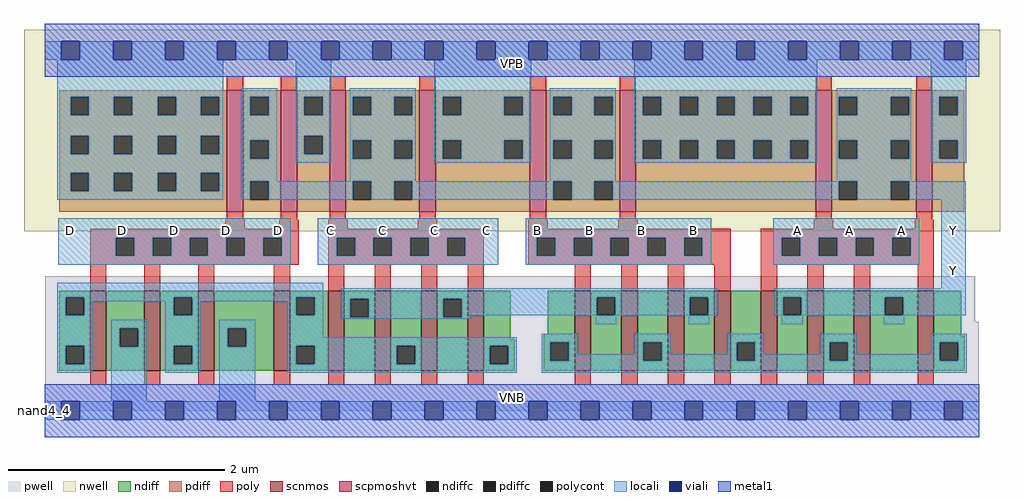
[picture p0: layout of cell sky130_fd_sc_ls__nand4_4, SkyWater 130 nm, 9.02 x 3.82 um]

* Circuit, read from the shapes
.subckt sky130_fd_sc_ls__nand4_4 A B C D VGND VNB VPB VPWR Y
XM1 VGND D n1 VNB sky130_fd_pr__nfet_01v8 w=0.74 l=0.15 m=4
XM2 n2 C n1 VNB sky130_fd_pr__nfet_01v8 w=0.74 l=0.15 m=4
XM3 n2 B n3 VNB sky130_fd_pr__nfet_01v8 w=0.74 l=0.15 m=4
XM4 Y A n3 VNB sky130_fd_pr__nfet_01v8 w=0.74 l=0.15 m=4
XM5 Y D VPWR VPB sky130_fd_pr__pfet_01v8_hvt w=1.12 l=0.15 m=2
XM6 Y C VPWR VPB sky130_fd_pr__pfet_01v8_hvt w=1.12 l=0.15 m=2
XM7 Y B VPWR VPB sky130_fd_pr__pfet_01v8_hvt w=1.12 l=0.15 m=2
XM8 Y A VPWR VPB sky130_fd_pr__pfet_01v8_hvt w=1.12 l=0.15 m=2
.ends

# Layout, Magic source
magic
tech sky130A
magscale 1 2
<< nwell >>
rect -38 332 1766 704
<< pwell >>
rect 1 164 1720 248
rect 1 49 1727 164
rect 0 0 1728 49
<< scnmos >>
rect 84 74 114 222
rect 184 74 214 222
rect 284 74 314 222
rect 424 74 454 222
rect 524 74 554 222
rect 610 74 640 222
rect 696 74 726 222
rect 782 74 812 222
rect 980 74 1010 222
rect 1066 74 1096 222
rect 1152 74 1182 222
rect 1238 74 1268 222
rect 1324 74 1354 222
rect 1410 74 1440 222
rect 1496 74 1526 222
rect 1614 74 1644 222
<< scpmoshvt >>
rect 337 368 367 592
rect 437 368 467 592
rect 527 368 557 592
rect 693 368 723 592
rect 897 368 927 592
rect 1063 368 1093 592
rect 1425 368 1455 592
rect 1611 368 1641 592
<< ndiff >>
rect 27 210 84 222
rect 27 176 39 210
rect 73 176 84 210
rect 27 120 84 176
rect 27 86 39 120
rect 73 86 84 120
rect 27 74 84 86
rect 114 152 184 222
rect 114 118 139 152
rect 173 118 184 152
rect 114 74 184 118
rect 214 210 284 222
rect 214 176 239 210
rect 273 176 284 210
rect 214 120 284 176
rect 214 86 239 120
rect 273 86 284 120
rect 214 74 284 86
rect 314 152 424 222
rect 314 118 339 152
rect 373 118 424 152
rect 314 74 424 118
rect 454 210 524 222
rect 454 176 465 210
rect 499 176 524 210
rect 454 120 524 176
rect 454 86 465 120
rect 499 86 524 120
rect 454 74 524 86
rect 554 207 610 222
rect 554 173 565 207
rect 599 173 610 207
rect 554 74 610 173
rect 640 120 696 222
rect 640 86 651 120
rect 685 86 696 120
rect 640 74 696 86
rect 726 207 782 222
rect 726 173 737 207
rect 771 173 782 207
rect 726 74 782 173
rect 812 132 862 222
rect 930 142 980 222
rect 812 120 869 132
rect 812 86 823 120
rect 857 86 869 120
rect 812 74 869 86
rect 923 126 980 142
rect 923 92 935 126
rect 969 92 980 126
rect 923 74 980 92
rect 1010 210 1066 222
rect 1010 176 1021 210
rect 1055 176 1066 210
rect 1010 74 1066 176
rect 1096 126 1152 222
rect 1096 92 1107 126
rect 1141 92 1152 126
rect 1096 74 1152 92
rect 1182 210 1238 222
rect 1182 176 1193 210
rect 1227 176 1238 210
rect 1182 74 1238 176
rect 1268 126 1324 222
rect 1268 92 1279 126
rect 1313 92 1324 126
rect 1268 74 1324 92
rect 1354 210 1410 222
rect 1354 176 1365 210
rect 1399 176 1410 210
rect 1354 74 1410 176
rect 1440 126 1496 222
rect 1440 92 1451 126
rect 1485 92 1496 126
rect 1440 74 1496 92
rect 1526 210 1614 222
rect 1526 176 1553 210
rect 1587 176 1614 210
rect 1526 74 1614 176
rect 1644 138 1694 222
rect 1644 126 1701 138
rect 1644 92 1655 126
rect 1689 92 1701 126
rect 1644 74 1701 92
<< pdiff >>
rect 27 580 337 592
rect 27 546 48 580
rect 82 546 128 580
rect 162 546 209 580
rect 243 546 289 580
rect 323 546 337 580
rect 27 508 337 546
rect 27 474 48 508
rect 82 474 128 508
rect 162 474 209 508
rect 243 474 289 508
rect 323 474 337 508
rect 27 440 337 474
rect 27 406 48 440
rect 82 406 128 440
rect 162 406 209 440
rect 243 406 289 440
rect 323 406 337 440
rect 27 368 337 406
rect 367 580 437 592
rect 367 546 380 580
rect 414 546 437 580
rect 367 500 437 546
rect 367 466 380 500
rect 414 466 437 500
rect 367 424 437 466
rect 367 390 380 424
rect 414 390 437 424
rect 367 368 437 390
rect 467 580 527 592
rect 467 546 480 580
rect 514 546 527 580
rect 467 508 527 546
rect 467 474 480 508
rect 514 474 527 508
rect 467 368 527 474
rect 557 580 693 592
rect 557 546 570 580
rect 604 546 646 580
rect 680 546 693 580
rect 557 500 693 546
rect 557 466 570 500
rect 604 466 646 500
rect 680 466 693 500
rect 557 424 693 466
rect 557 390 570 424
rect 604 390 646 424
rect 680 390 693 424
rect 557 368 693 390
rect 723 580 897 592
rect 723 546 736 580
rect 770 546 850 580
rect 884 546 897 580
rect 723 500 897 546
rect 723 466 736 500
rect 770 466 850 500
rect 884 466 897 500
rect 723 368 897 466
rect 927 580 1063 592
rect 927 546 940 580
rect 974 546 1016 580
rect 1050 546 1063 580
rect 927 500 1063 546
rect 927 466 940 500
rect 974 466 1016 500
rect 1050 466 1063 500
rect 927 424 1063 466
rect 927 390 940 424
rect 974 390 1016 424
rect 1050 390 1063 424
rect 927 368 1063 390
rect 1093 580 1425 592
rect 1093 546 1106 580
rect 1140 546 1174 580
rect 1208 546 1242 580
rect 1276 546 1310 580
rect 1344 546 1378 580
rect 1412 546 1425 580
rect 1093 500 1425 546
rect 1093 466 1106 500
rect 1140 466 1174 500
rect 1208 466 1242 500
rect 1276 466 1310 500
rect 1344 466 1378 500
rect 1412 466 1425 500
rect 1093 368 1425 466
rect 1455 580 1611 592
rect 1455 546 1468 580
rect 1502 546 1564 580
rect 1598 546 1611 580
rect 1455 500 1611 546
rect 1455 466 1468 500
rect 1502 466 1564 500
rect 1598 466 1611 500
rect 1455 424 1611 466
rect 1455 390 1468 424
rect 1502 390 1564 424
rect 1598 390 1611 424
rect 1455 368 1611 390
rect 1641 580 1700 592
rect 1641 546 1654 580
rect 1688 546 1700 580
rect 1641 500 1700 546
rect 1641 466 1654 500
rect 1688 466 1700 500
rect 1641 368 1700 466
<< ndiffc >>
rect 39 176 73 210
rect 39 86 73 120
rect 139 118 173 152
rect 239 176 273 210
rect 239 86 273 120
rect 339 118 373 152
rect 465 176 499 210
rect 465 86 499 120
rect 565 173 599 207
rect 651 86 685 120
rect 737 173 771 207
rect 823 86 857 120
rect 935 92 969 126
rect 1021 176 1055 210
rect 1107 92 1141 126
rect 1193 176 1227 210
rect 1279 92 1313 126
rect 1365 176 1399 210
rect 1451 92 1485 126
rect 1553 176 1587 210
rect 1655 92 1689 126
<< pdiffc >>
rect 48 546 82 580
rect 128 546 162 580
rect 209 546 243 580
rect 289 546 323 580
rect 48 474 82 508
rect 128 474 162 508
rect 209 474 243 508
rect 289 474 323 508
rect 48 406 82 440
rect 128 406 162 440
rect 209 406 243 440
rect 289 406 323 440
rect 380 546 414 580
rect 380 466 414 500
rect 380 390 414 424
rect 480 546 514 580
rect 480 474 514 508
rect 570 546 604 580
rect 646 546 680 580
rect 570 466 604 500
rect 646 466 680 500
rect 570 390 604 424
rect 646 390 680 424
rect 736 546 770 580
rect 850 546 884 580
rect 736 466 770 500
rect 850 466 884 500
rect 940 546 974 580
rect 1016 546 1050 580
rect 940 466 974 500
rect 1016 466 1050 500
rect 940 390 974 424
rect 1016 390 1050 424
rect 1106 546 1140 580
rect 1174 546 1208 580
rect 1242 546 1276 580
rect 1310 546 1344 580
rect 1378 546 1412 580
rect 1106 466 1140 500
rect 1174 466 1208 500
rect 1242 466 1276 500
rect 1310 466 1344 500
rect 1378 466 1412 500
rect 1468 546 1502 580
rect 1564 546 1598 580
rect 1468 466 1502 500
rect 1564 466 1598 500
rect 1468 390 1502 424
rect 1564 390 1598 424
rect 1654 546 1688 580
rect 1654 466 1688 500
<< poly >>
rect 337 592 367 618
rect 437 592 467 618
rect 527 592 557 618
rect 693 592 723 618
rect 897 592 927 618
rect 1063 592 1093 618
rect 1425 592 1455 618
rect 1611 592 1641 618
rect 337 353 367 368
rect 437 353 467 368
rect 527 353 557 368
rect 693 353 723 368
rect 897 353 927 368
rect 1063 353 1093 368
rect 1425 353 1455 368
rect 1611 353 1641 368
rect 334 336 370 353
rect 434 336 470 353
rect 84 320 470 336
rect 84 286 132 320
rect 166 286 200 320
rect 234 286 268 320
rect 302 286 336 320
rect 370 286 404 320
rect 438 286 470 320
rect 84 270 470 286
rect 524 336 560 353
rect 690 336 726 353
rect 894 336 930 353
rect 1060 336 1096 353
rect 1422 336 1458 353
rect 1608 336 1644 353
rect 524 320 812 336
rect 524 286 540 320
rect 574 286 608 320
rect 642 286 676 320
rect 710 286 744 320
rect 778 286 812 320
rect 524 270 812 286
rect 894 320 1268 336
rect 894 286 910 320
rect 944 286 978 320
rect 1012 286 1046 320
rect 1080 286 1114 320
rect 1148 286 1182 320
rect 1216 286 1268 320
rect 894 270 1268 286
rect 84 222 114 270
rect 184 222 214 270
rect 284 222 314 270
rect 424 222 454 270
rect 524 222 554 270
rect 610 222 640 270
rect 696 222 726 270
rect 782 222 812 270
rect 980 222 1010 270
rect 1066 222 1096 270
rect 1152 222 1182 270
rect 1238 222 1268 270
rect 1324 320 1644 336
rect 1324 286 1363 320
rect 1397 286 1431 320
rect 1465 286 1499 320
rect 1533 286 1567 320
rect 1601 286 1644 320
rect 1324 270 1644 286
rect 1324 222 1354 270
rect 1410 222 1440 270
rect 1496 222 1526 270
rect 1614 222 1644 270
rect 84 48 114 74
rect 184 48 214 74
rect 284 48 314 74
rect 424 48 454 74
rect 524 48 554 74
rect 610 48 640 74
rect 696 48 726 74
rect 782 48 812 74
rect 980 48 1010 74
rect 1066 48 1096 74
rect 1152 48 1182 74
rect 1238 48 1268 74
rect 1324 48 1354 74
rect 1410 48 1440 74
rect 1496 48 1526 74
rect 1614 48 1644 74
<< polycont >>
rect 132 286 166 320
rect 200 286 234 320
rect 268 286 302 320
rect 336 286 370 320
rect 404 286 438 320
rect 540 286 574 320
rect 608 286 642 320
rect 676 286 710 320
rect 744 286 778 320
rect 910 286 944 320
rect 978 286 1012 320
rect 1046 286 1080 320
rect 1114 286 1148 320
rect 1182 286 1216 320
rect 1363 286 1397 320
rect 1431 286 1465 320
rect 1499 286 1533 320
rect 1567 286 1601 320
<< locali >>
rect 0 649 31 683
rect 65 649 127 683
rect 161 649 223 683
rect 257 649 319 683
rect 353 649 415 683
rect 449 649 511 683
rect 545 649 607 683
rect 641 649 703 683
rect 737 649 799 683
rect 833 649 895 683
rect 929 649 991 683
rect 1025 649 1087 683
rect 1121 649 1183 683
rect 1217 649 1279 683
rect 1313 649 1375 683
rect 1409 649 1471 683
rect 1505 649 1567 683
rect 1601 649 1663 683
rect 1697 649 1728 683
rect 23 580 330 649
rect 23 546 48 580
rect 82 546 128 580
rect 162 546 209 580
rect 243 546 289 580
rect 323 546 330 580
rect 23 508 330 546
rect 23 474 48 508
rect 82 474 128 508
rect 162 474 209 508
rect 243 474 289 508
rect 323 474 330 508
rect 23 440 330 474
rect 23 406 48 440
rect 82 406 128 440
rect 162 406 209 440
rect 243 406 289 440
rect 323 406 330 440
rect 23 390 330 406
rect 364 580 430 596
rect 364 546 380 580
rect 414 546 430 580
rect 364 500 430 546
rect 364 466 380 500
rect 414 466 430 500
rect 364 424 430 466
rect 464 580 530 649
rect 464 546 480 580
rect 514 546 530 580
rect 464 508 530 546
rect 464 474 480 508
rect 514 474 530 508
rect 464 458 530 474
rect 564 580 686 596
rect 564 546 570 580
rect 604 546 646 580
rect 680 546 686 580
rect 564 500 686 546
rect 564 466 570 500
rect 604 466 646 500
rect 680 466 686 500
rect 564 424 686 466
rect 720 580 900 649
rect 720 546 736 580
rect 770 546 850 580
rect 884 546 900 580
rect 720 500 900 546
rect 720 466 736 500
rect 770 466 850 500
rect 884 466 900 500
rect 720 458 900 466
rect 934 580 1056 596
rect 934 546 940 580
rect 974 546 1016 580
rect 1050 546 1056 580
rect 934 500 1056 546
rect 934 466 940 500
rect 974 466 1016 500
rect 1050 466 1056 500
rect 934 424 1056 466
rect 1090 580 1428 649
rect 1090 546 1106 580
rect 1140 546 1174 580
rect 1208 546 1242 580
rect 1276 546 1310 580
rect 1344 546 1378 580
rect 1412 546 1428 580
rect 1090 500 1428 546
rect 1090 466 1106 500
rect 1140 466 1174 500
rect 1208 466 1242 500
rect 1276 466 1310 500
rect 1344 466 1378 500
rect 1412 466 1428 500
rect 1090 458 1428 466
rect 1464 580 1602 596
rect 1464 546 1468 580
rect 1502 546 1564 580
rect 1598 546 1602 580
rect 1464 500 1602 546
rect 1464 466 1468 500
rect 1502 466 1564 500
rect 1598 466 1602 500
rect 1464 424 1602 466
rect 1638 580 1704 649
rect 1638 546 1654 580
rect 1688 546 1704 580
rect 1638 500 1704 546
rect 1638 466 1654 500
rect 1688 466 1704 500
rect 1638 458 1704 466
rect 364 390 380 424
rect 414 390 570 424
rect 604 390 646 424
rect 680 390 940 424
rect 974 390 1016 424
rect 1050 390 1468 424
rect 1502 390 1564 424
rect 1598 390 1703 424
rect 25 320 455 356
rect 25 286 132 320
rect 166 286 200 320
rect 234 286 268 320
rect 302 286 336 320
rect 370 286 404 320
rect 438 286 455 320
rect 25 270 455 286
rect 505 320 839 356
rect 505 286 540 320
rect 574 286 608 320
rect 642 286 676 320
rect 710 286 744 320
rect 778 286 839 320
rect 505 270 839 286
rect 889 320 1232 356
rect 889 286 910 320
rect 944 286 978 320
rect 1012 286 1046 320
rect 1080 286 1114 320
rect 1148 286 1182 320
rect 1216 286 1232 320
rect 889 270 1232 286
rect 1347 320 1617 356
rect 1347 286 1363 320
rect 1397 286 1431 320
rect 1465 286 1499 320
rect 1533 286 1567 320
rect 1601 286 1617 320
rect 1347 270 1617 286
rect 23 210 515 236
rect 1657 226 1703 390
rect 23 176 39 210
rect 73 202 239 210
rect 73 176 89 202
rect 23 120 89 176
rect 223 176 239 202
rect 273 202 465 210
rect 273 176 289 202
rect 23 86 39 120
rect 73 86 89 120
rect 23 70 89 86
rect 123 152 189 168
rect 123 118 139 152
rect 173 118 189 152
rect 123 17 189 118
rect 223 120 289 176
rect 449 176 465 202
rect 499 176 515 210
rect 223 86 239 120
rect 273 86 289 120
rect 223 70 289 86
rect 323 152 389 168
rect 323 118 339 152
rect 373 118 389 152
rect 323 17 389 118
rect 449 136 515 176
rect 549 210 1243 226
rect 549 207 1021 210
rect 549 173 565 207
rect 599 173 737 207
rect 771 176 1021 207
rect 1055 176 1193 210
rect 1227 176 1243 210
rect 1349 210 1703 226
rect 1349 176 1365 210
rect 1399 176 1553 210
rect 1587 176 1703 210
rect 771 173 787 176
rect 549 170 787 173
rect 1019 160 1057 176
rect 1191 160 1229 176
rect 1363 160 1401 176
rect 1551 160 1589 176
rect 449 120 873 136
rect 449 86 465 120
rect 499 86 651 120
rect 685 86 823 120
rect 857 86 873 120
rect 449 70 873 86
rect 919 126 985 142
rect 919 92 935 126
rect 969 104 985 126
rect 1091 126 1157 142
rect 1091 104 1107 126
rect 969 92 1107 104
rect 1141 104 1157 126
rect 1263 126 1329 142
rect 1263 104 1279 126
rect 1141 92 1279 104
rect 1313 104 1329 126
rect 1435 126 1501 142
rect 1435 104 1451 126
rect 1313 92 1451 104
rect 1485 104 1501 126
rect 1639 126 1705 142
rect 1639 104 1655 126
rect 1485 92 1655 104
rect 1689 92 1705 126
rect 919 70 1705 92
rect 0 -17 31 17
rect 65 -17 127 17
rect 161 -17 223 17
rect 257 -17 319 17
rect 353 -17 415 17
rect 449 -17 511 17
rect 545 -17 607 17
rect 641 -17 703 17
rect 737 -17 799 17
rect 833 -17 895 17
rect 929 -17 991 17
rect 1025 -17 1087 17
rect 1121 -17 1183 17
rect 1217 -17 1279 17
rect 1313 -17 1375 17
rect 1409 -17 1471 17
rect 1505 -17 1567 17
rect 1601 -17 1663 17
rect 1697 -17 1728 17
<< viali >>
rect 31 649 65 683
rect 127 649 161 683
rect 223 649 257 683
rect 319 649 353 683
rect 415 649 449 683
rect 511 649 545 683
rect 607 649 641 683
rect 703 649 737 683
rect 799 649 833 683
rect 895 649 929 683
rect 991 649 1025 683
rect 1087 649 1121 683
rect 1183 649 1217 683
rect 1279 649 1313 683
rect 1375 649 1409 683
rect 1471 649 1505 683
rect 1567 649 1601 683
rect 1663 649 1697 683
rect 31 -17 65 17
rect 127 -17 161 17
rect 223 -17 257 17
rect 319 -17 353 17
rect 415 -17 449 17
rect 511 -17 545 17
rect 607 -17 641 17
rect 703 -17 737 17
rect 799 -17 833 17
rect 895 -17 929 17
rect 991 -17 1025 17
rect 1087 -17 1121 17
rect 1183 -17 1217 17
rect 1279 -17 1313 17
rect 1375 -17 1409 17
rect 1471 -17 1505 17
rect 1567 -17 1601 17
rect 1663 -17 1697 17
<< metal1 >>
rect 0 683 1728 715
rect 0 649 31 683
rect 65 649 127 683
rect 161 649 223 683
rect 257 649 319 683
rect 353 649 415 683
rect 449 649 511 683
rect 545 649 607 683
rect 641 649 703 683
rect 737 649 799 683
rect 833 649 895 683
rect 929 649 991 683
rect 1025 649 1087 683
rect 1121 649 1183 683
rect 1217 649 1279 683
rect 1313 649 1375 683
rect 1409 649 1471 683
rect 1505 649 1567 683
rect 1601 649 1663 683
rect 1697 649 1728 683
rect 0 617 1728 649
rect 0 17 1728 49
rect 0 -17 31 17
rect 65 -17 127 17
rect 161 -17 223 17
rect 257 -17 319 17
rect 353 -17 415 17
rect 449 -17 511 17
rect 545 -17 607 17
rect 641 -17 703 17
rect 737 -17 799 17
rect 833 -17 895 17
rect 929 -17 991 17
rect 1025 -17 1087 17
rect 1121 -17 1183 17
rect 1217 -17 1279 17
rect 1313 -17 1375 17
rect 1409 -17 1471 17
rect 1505 -17 1567 17
rect 1601 -17 1663 17
rect 1697 -17 1728 17
rect 0 -49 1728 -17
<< labels >>
rlabel comment s 0 0 0 0 4 nand4_4
flabel pwell s 0 0 1728 49 0 FreeSans 200 0 0 0 VNB
port 6 nsew ground bidirectional
flabel nwell s 0 617 1728 666 0 FreeSans 200 0 0 0 VPB
port 7 nsew power bidirectional
flabel metal1 s 0 617 1728 666 0 FreeSans 340 0 0 0 VPWR
port 8 nsew power bidirectional abutment
flabel metal1 s 0 0 1728 49 0 FreeSans 340 0 0 0 VGND
port 5 nsew ground bidirectional abutment
flabel locali s 511 316 545 350 0 FreeSans 340 0 0 0 C
port 3 nsew signal input
flabel locali s 607 316 641 350 0 FreeSans 340 0 0 0 C
port 3 nsew signal input
flabel locali s 703 316 737 350 0 FreeSans 340 0 0 0 C
port 3 nsew signal input
flabel locali s 799 316 833 350 0 FreeSans 340 0 0 0 C
port 3 nsew signal input
flabel locali s 31 316 65 350 0 FreeSans 340 0 0 0 D
port 4 nsew signal input
flabel locali s 127 316 161 350 0 FreeSans 340 0 0 0 D
port 4 nsew signal input
flabel locali s 223 316 257 350 0 FreeSans 340 0 0 0 D
port 4 nsew signal input
flabel locali s 319 316 353 350 0 FreeSans 340 0 0 0 D
port 4 nsew signal input
flabel locali s 415 316 449 350 0 FreeSans 340 0 0 0 D
port 4 nsew signal input
flabel locali s 1375 316 1409 350 0 FreeSans 340 0 0 0 A
port 1 nsew signal input
flabel locali s 1471 316 1505 350 0 FreeSans 340 0 0 0 A
port 1 nsew signal input
flabel locali s 1567 316 1601 350 0 FreeSans 340 0 0 0 A
port 1 nsew signal input
flabel locali s 1663 242 1697 276 0 FreeSans 340 0 0 0 Y
port 9 nsew signal output
flabel locali s 1663 316 1697 350 0 FreeSans 340 0 0 0 Y
port 9 nsew signal output
flabel locali s 895 316 929 350 0 FreeSans 340 0 0 0 B
port 2 nsew signal input
flabel locali s 991 316 1025 350 0 FreeSans 340 0 0 0 B
port 2 nsew signal input
flabel locali s 1087 316 1121 350 0 FreeSans 340 0 0 0 B
port 2 nsew signal input
flabel locali s 1183 316 1217 350 0 FreeSans 340 0 0 0 B
port 2 nsew signal input
<< properties >>
string LEFsite unit
string LEFclass CORE
string FIXED_BBOX 0 0 1728 666
string GDS_FILE $PDKPATH/libs.ref/sky130_fd_sc_ls/gds/sky130_fd_sc_ls.gds
string LEFsymmetry X Y
string GDS_END 2488802
string GDS_START 2474552
<< end >>
